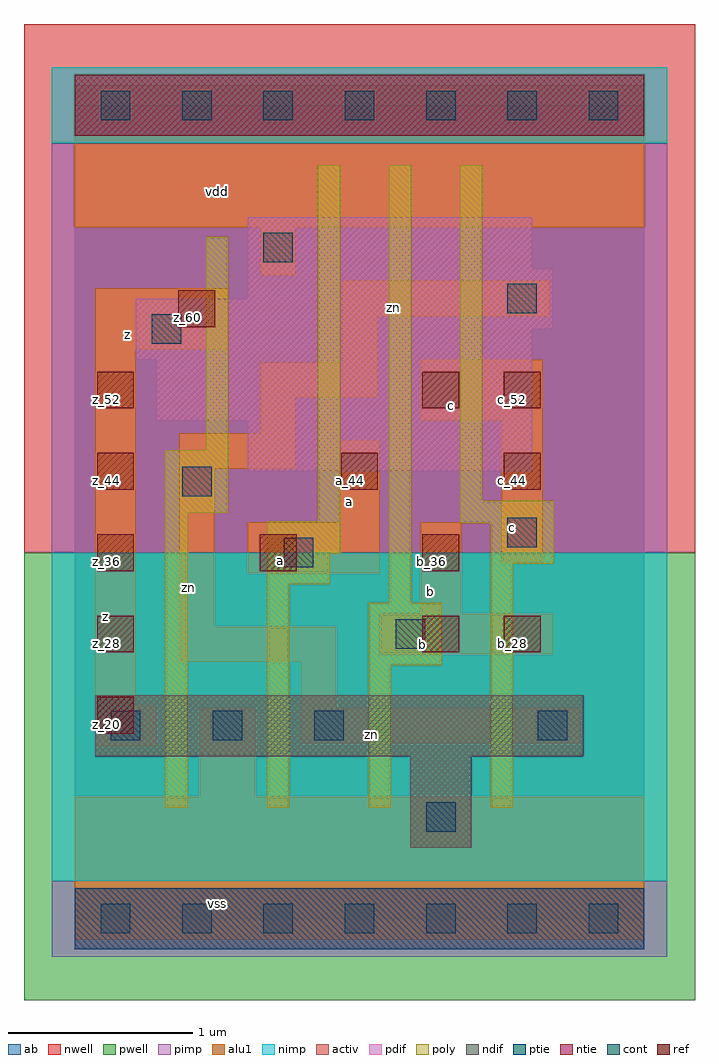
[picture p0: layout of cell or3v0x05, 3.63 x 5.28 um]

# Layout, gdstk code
import gdstk
lib = gdstk.Library(unit=1e-6, precision=2.5e-09)
def R(c, l, rs):  # rectangles x0, y0, x1, y1
    for r in rs: c.add(gdstk.rectangle(r[:2], r[2:], *l))
def A(c, l, x, y, w, h, nx, ny, dx, dy):  # array of equal rectangles
    R(c, l, [(x+i*dx, y+j*dy, x+i*dx+w, y+j*dy+h) for i in range(nx) for j in range(ny)])
ndif = (3, 0)
pdif = (4, 0)
ntie = (5, 0)
ptie = (6, 0)
ref = (24, 0)
cont = (25, 0)
pwell = (41, 0)
nwell = (42, 0)
activ = (43, 0)
pimp = (44, 0)
nimp = (45, 0)
poly = (46, 0)
alu1 = (49, 0)
ab = (63, 0)

or3v0x05 = lib.new_cell('or3v0x05')
R(or3v0x05, ndif, [(1.815,0.385,2.145,0.88), (0.11,0.88,2.75,1.21)])
R(or3v0x05, pdif, [(0.935,2.42,2.475,2.695), (0.44,2.695,2.475,3.025), (0.33,3.025,2.475,3.19), (0.33,3.19,2.585,3.355), (0.935,3.355,2.585,3.52), (0.935,3.52,2.475,3.795)])
R(or3v0x05, ntie, [(0,4.235,3.08,4.565)])
R(or3v0x05, ptie, [(0,-0.165,3.08,0.165)])
A(or3v0x05, ref, 0.12, 1.88, 0.2, 0.2, 3, 1, 0.88, 0)
R(or3v0x05, ref, [(0.12,1,0.32,1.2), (0.12,1.44,0.32,1.64), (1.88,1.44,2.08,1.64), (2.32,1.44,2.52,1.64), (0.12,2.32,0.32,2.52), (1.44,2.32,1.64,2.52), (2.32,2.32,2.52,2.52), (0.12,2.76,0.32,2.96), (1.88,2.76,2.08,2.96), (2.32,2.76,2.52,2.96), (0.56,3.2,0.76,3.4)])
A(or3v0x05, cont, 0.14, -0.08, 0.16, 0.16, 7, 2, 0.44, 4.4)
A(or3v0x05, cont, 0.195, 0.965, 0.16, 0.16, 3, 1, 0.55, 0)
R(or3v0x05, cont, [(1.9,0.47,2.06,0.63), (2.505,0.965,2.665,1.125), (1.735,1.46,1.895,1.62), (1.13,1.9,1.29,2.06), (2.34,2.01,2.5,2.17), (0.58,2.285,0.74,2.445), (0.415,3.11,0.575,3.27), (2.34,3.275,2.5,3.435), (1.02,3.55,1.18,3.71)])
R(or3v0x05, pwell, [(-0.275,-0.44,3.355,1.98)])
R(or3v0x05, nwell, [(-0.275,1.98,3.355,4.84)])
R(or3v0x05, activ, [(0,-0.165,3.08,0.165), (1.815,0.385,2.145,0.88), (0.11,0.88,2.75,1.21), (0.935,2.42,2.475,2.695), (0.44,2.695,2.475,3.025), (0.33,3.025,2.475,3.19), (0.33,3.19,2.585,3.355), (0.935,3.355,2.585,3.52), (0.935,3.52,2.475,3.795), (0,4.235,3.08,4.565)])
R(or3v0x05, pimp, [(-0.125,-0.205,3.205,0.205), (-0.125,1.98,3.205,4.195)])
R(or3v0x05, nimp, [(-0.125,0.205,3.205,1.98), (-0.125,4.195,3.205,4.605)])
R(or3v0x05, poly, [(0.49,0.6,0.61,2.195), (1.04,0.6,1.16,1.81), (1.59,0.6,1.71,1.37), (2.25,0.6,2.37,1.92), (1.59,1.37,1.985,1.71), (1.7,1.71,1.82,4.075), (1.04,1.81,1.38,1.975), (2.25,1.92,2.59,2.14), (1.04,1.975,1.435,2.15), (2.085,2.14,2.59,2.26), (1.315,2.15,1.435,4.075), (0.49,2.195,0.83,2.535), (2.085,2.26,2.205,4.075), (0.71,2.535,0.83,3.69)])
R(or3v0x05, alu1, [(0,-0.11,3.08,0.66), (0.675,0.66,0.975,1.14), (0.11,0.935,0.44,1.155), (1.225,0.95,2.735,1.14), (1.225,1.14,1.415,1.39), (0.11,1.155,0.33,3.08), (0.565,1.39,1.415,1.58), (1.65,1.43,2.585,1.65), (0.565,1.58,0.755,2.435), (1.87,1.65,2.09,2.145), (0.935,1.87,1.65,2.145), (2.31,1.925,2.53,2.695), (1.43,2.145,1.65,2.585), (0.565,2.435,1.195,2.625), (1.005,2.625,1.195,2.82), (1.87,2.695,2.53,3.025), (1.005,2.82,1.635,3.01), (1.445,3.01,1.635,3.26), (0.11,3.08,0.825,3.41), (1.445,3.26,2.57,3.45), (1.005,3.48,1.195,3.74), (0,3.74,3.08,4.51)])
R(or3v0x05, ab, [(0,0,3.08,4.4)])
or3v0x05.add(gdstk.Label('vss', (0.77,0.0825), layer=49, texttype=0))
or3v0x05.add(gdstk.Label('zn', (1.6025,0.9975), layer=49, texttype=0))
or3v0x05.add(gdstk.Label('b', (1.8825,1.485), layer=49, texttype=0))
or3v0x05.add(gdstk.Label('c', (2.365,2.1175), layer=49, texttype=0))
or3v0x05.add(gdstk.Label('b', (1.925,1.7725), layer=49, texttype=0))
or3v0x05.add(gdstk.Label('a', (1.1125,1.9375), layer=49, texttype=0))
or3v0x05.add(gdstk.Label('a', (1.485,2.255), layer=49, texttype=0))
or3v0x05.add(gdstk.Label('zn', (0.6125,1.7925), layer=49, texttype=0))
or3v0x05.add(gdstk.Label('c', (2.035,2.7775), layer=49, texttype=0))
or3v0x05.add(gdstk.Label('z', (0.165,1.635), layer=49, texttype=0))
or3v0x05.add(gdstk.Label('zn', (1.725,3.3075), layer=49, texttype=0))
or3v0x05.add(gdstk.Label('z', (0.2875,3.1625), layer=49, texttype=0))
or3v0x05.add(gdstk.Label('vdd', (0.77,3.9325), layer=49, texttype=0))
or3v0x05.add(gdstk.Label('z_60', (0.61,3.25), layer=24, texttype=0))
or3v0x05.add(gdstk.Label('a_36', (1.05,1.93), layer=24, texttype=0))
or3v0x05.add(gdstk.Label('a_44', (1.49,2.37), layer=24, texttype=0))
or3v0x05.add(gdstk.Label('b_28', (1.93,1.49), layer=24, texttype=0))
or3v0x05.add(gdstk.Label('b_36', (1.93,1.93), layer=24, texttype=0))
or3v0x05.add(gdstk.Label('c_52', (1.93,2.81), layer=24, texttype=0))
or3v0x05.add(gdstk.Label('z_20', (0.17,1.05), layer=24, texttype=0))
or3v0x05.add(gdstk.Label('z_28', (0.17,1.49), layer=24, texttype=0))
or3v0x05.add(gdstk.Label('z_36', (0.17,1.93), layer=24, texttype=0))
or3v0x05.add(gdstk.Label('z_44', (0.17,2.37), layer=24, texttype=0))
or3v0x05.add(gdstk.Label('z_52', (0.17,2.81), layer=24, texttype=0))
or3v0x05.add(gdstk.Label('b_28', (2.37,1.49), layer=24, texttype=0))
or3v0x05.add(gdstk.Label('c_44', (2.37,2.37), layer=24, texttype=0))
or3v0x05.add(gdstk.Label('c_52', (2.37,2.81), layer=24, texttype=0))

lib.write_gds('or3v0x05.gds')
